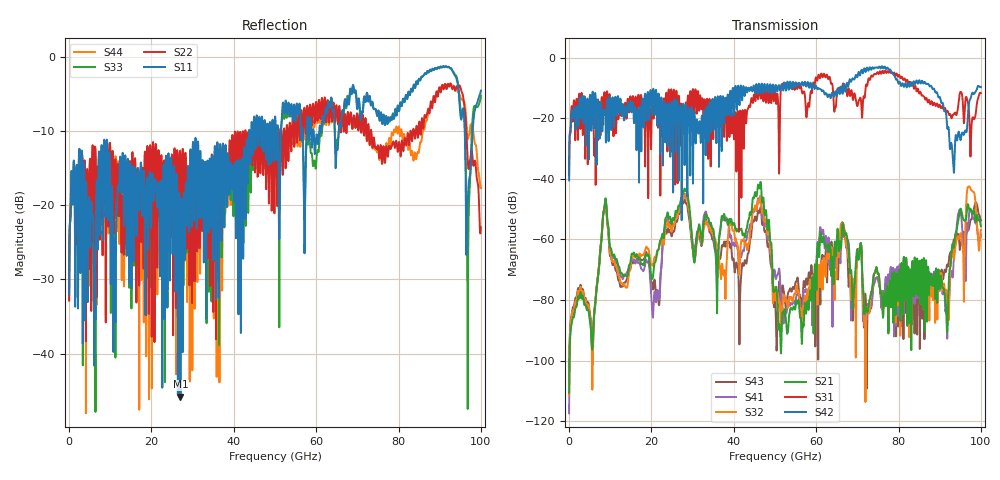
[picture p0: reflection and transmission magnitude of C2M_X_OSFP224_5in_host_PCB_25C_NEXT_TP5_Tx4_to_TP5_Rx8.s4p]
# GHz S RI R 45
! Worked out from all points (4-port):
!   4000 points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, 25 MHz to 100 GHz, reference 45 ohm
!   strongest paths, dB at 25 MHz, 25.02 GHz, 50.02 GHz, 75.03 GHz, 100 GHz:
!     S42: -40.5, -15.3, -10.0, -3.5, -9.7
!     S31: -38.9, -14.8, -10.6, -5.1, -11.7
!     S21: -110.6, -54.4, -77.0, -71.4, -55.7
!     S32: -111.4, -56.8, -78.3, -71.3, -56.8
!     S41: -117.4, -56.1, -71.1, -72.7, -58.6
!     S43: -107.8, -58.6, -79.6, -72.9, -53.8
!   lowest |S11| = -45.8 dB at 27.05 GHz (marker M1), VSWR 1.01, Z = 45.2 - j0.428 ohm
!   |S11| at or under -10 dB: start of sweep to 43.71 GHz; 59.39 GHz to 60.74 GHz (1.355 GHz wide, 2.26 % of centre); 96.08 GHz to 98 GHz (1.928 GHz wide, 1.99 % of centre)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
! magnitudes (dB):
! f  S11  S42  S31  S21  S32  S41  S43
! 25 MHz  -32.0  -40.5  -38.9  -110.6  -111.4  -117.4  -107.8
! 21.48 GHz  -20.3  -21.2  -17.3  -63.8  -63.5  -76.8  -77.0
! 27.05 GHz  -45.8  -16.1  -21.4  -47.6  -49.5  -48.4  -50.4
! 41.42 GHz  -14.0  -14.9  -19.6  -56.6  -68.2  -67.1  -87.9
! 46.23 GHz  -8.1  -9.1  -10.6  -43.1  -47.7  -47.8  -51.2
! 51.08 GHz  -22.6  -9.4  -34.5  -87.8  -80.5  -69.8  -73.8
! 100 GHz  -4.6  -9.7  -11.7  -55.7  -56.8  -58.6  -53.8
